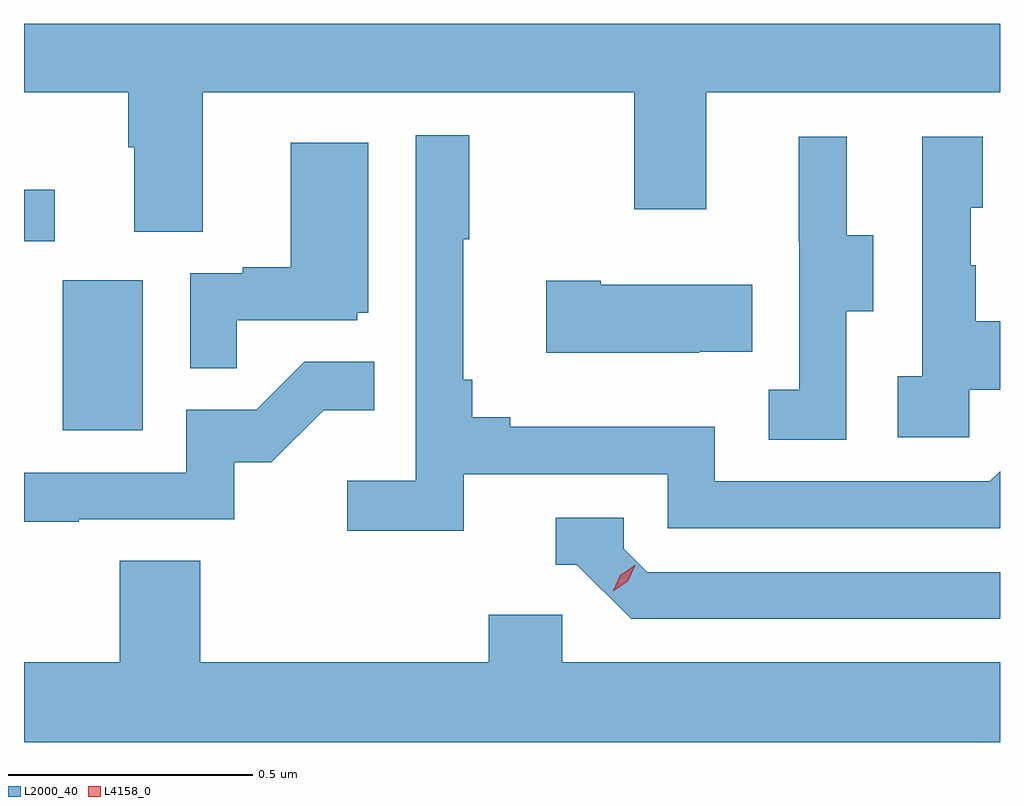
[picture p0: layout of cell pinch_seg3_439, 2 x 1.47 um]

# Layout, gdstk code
import gdstk
lib = gdstk.Library(unit=1e-6, precision=1e-09)
def R(c, l, rs):  # rectangles x0, y0, x1, y1
    for r in rs: c.add(gdstk.rectangle(r[:2], r[2:], *l))
def P(c, l, *ps):  # polygons
    for p in ps: c.add(gdstk.Polygon(p, *l))
L2000_40 = (2000, 40)
L4158_0 = (4158, 0)

pinch_seg3_439 = lib.new_cell('pinch_seg3_439')
R(pinch_seg3_439, L2000_40, [(891.926,704.22,892.09,704.527), (891.847,704.607,891.91,704.713)])
P(pinch_seg3_439, L2000_40, [(892.213,704.912),(893.098,704.912),(893.098,704.673),(893.245,704.673),(893.245,704.912),(893.847,704.912),(893.847,705.053),(891.847,705.053),(891.847,704.912),(892.061,704.912),(892.061,704.8),(892.073,704.8),(892.073,704.626),(892.213,704.626)],
  [(892.748,704.13),(893.166,704.13),(893.166,704.019),(893.847,704.019),(893.847,704.136),(893.826,704.115),(893.262,704.115),(893.262,704.227),(892.843,704.227),(892.843,704.246),(892.766,704.246),(892.766,704.323),(892.747,704.323),(892.747,704.611),(892.759,704.611),(892.759,704.824),(892.65,704.824),(892.65,704.116),(892.509,704.116),(892.509,704.014),(892.748,704.014)],
  [(893.784,704.303),(893.847,704.303),(893.847,704.443),(893.797,704.443),(893.797,704.558),(893.787,704.558),(893.787,704.676),(893.812,704.676),(893.812,704.821),(893.688,704.821),(893.688,704.33),(893.637,704.33),(893.637,704.205),(893.784,704.205)],
  [(893.532,704.464),(893.587,704.464),(893.587,704.619),(893.533,704.619),(893.533,704.821),(893.435,704.821),(893.435,704.607),(893.436,704.607),(893.436,704.303),(893.373,704.303),(893.373,704.2),(893.532,704.2)],
  [(892.283,704.445),(892.53,704.445),(892.53,704.46),(892.552,704.46),(892.552,704.809),(892.394,704.809),(892.394,704.554),(892.295,704.554),(892.295,704.541),(892.188,704.541),(892.188,704.347),(892.283,704.347)],
  [(893.231,704.381),(893.339,704.381),(893.339,704.518),(893.029,704.518),(893.029,704.526),(892.917,704.526),(892.917,704.378),(893.231,704.378)],
  [(891.959,704.037),(892.278,704.037),(892.278,704.154),(892.354,704.154),(892.461,704.261),(892.565,704.261),(892.565,704.36),(892.421,704.36),(892.323,704.262),(892.179,704.262),(892.179,704.133),(891.847,704.133),(891.847,704.032),(891.959,704.032)],
  [(893.847,703.929),(893.124,703.929),(893.076,703.977),(893.076,704.04),(892.937,704.04),(892.937,703.944),(892.98,703.944),(893.091,703.833),(893.847,703.833)],
  [(893.847,703.744),(892.95,703.744),(892.95,703.842),(892.799,703.842),(892.799,703.744),(892.208,703.744),(892.208,703.952),(892.043,703.952),(892.043,703.744),(891.847,703.744),(891.847,703.58),(893.847,703.58)])
P(pinch_seg3_439, L4158_0, [(893.054,703.89),(893.054,703.891),(893.069,703.923),(893.099,703.943),(893.1,703.943),(893.1,703.943),(893.084,703.91),(893.054,703.89)])

lib.write_gds('pinch_seg3_439.gds')
